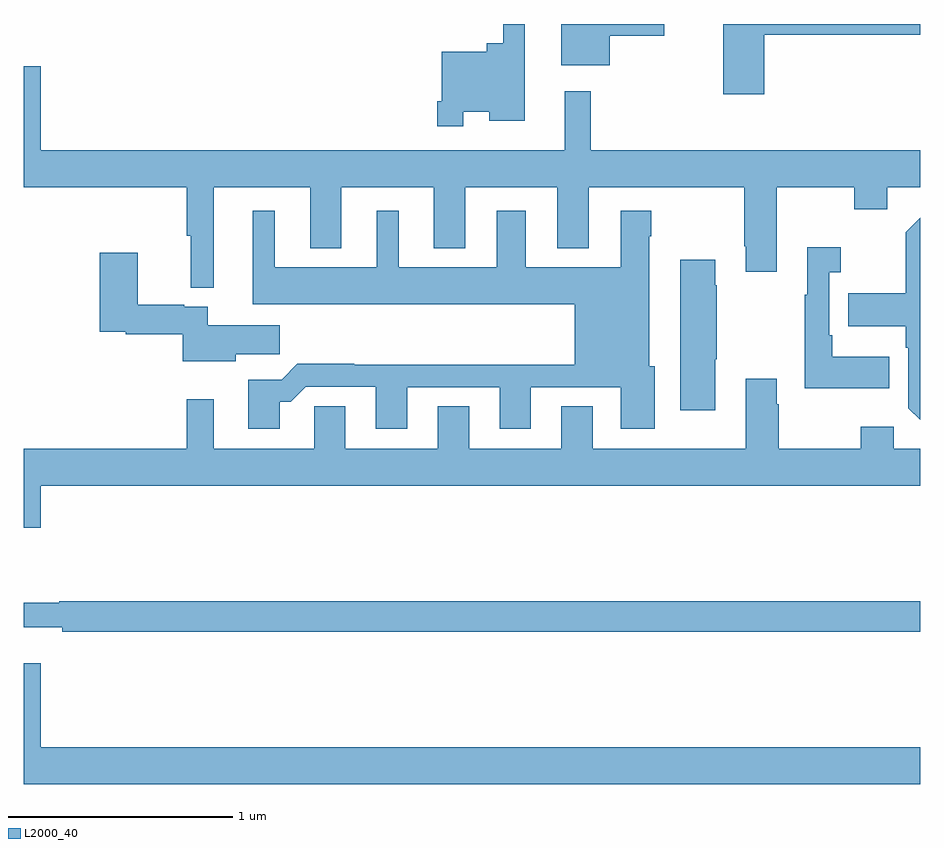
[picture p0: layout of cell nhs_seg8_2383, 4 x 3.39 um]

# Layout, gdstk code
import gdstk
lib = gdstk.Library(unit=1e-6, precision=1e-09)
def P(c, l, *ps):  # polygons
    for p in ps: c.add(gdstk.Polygon(p, *l))
L2000_40 = (2000, 40)

nhs_seg8_2383 = lib.new_cell('nhs_seg8_2383')
P(nhs_seg8_2383, L2000_40, [(262.962,1111.508),(263.078,1111.508),(263.078,1111.469),(263.236,1111.469),(263.236,1111.9),(263.139,1111.9),(263.139,1111.813),(263.066,1111.813),(263.066,1111.777),(262.866,1111.777),(262.866,1111.555),(262.846,1111.555),(262.846,1111.443),(262.962,1111.443)],
  [(264.305,1111.852),(265,1111.852),(265,1111.9),(264.122,1111.9),(264.122,1111.587),(264.305,1111.587)],
  [(263.614,1111.847),(263.857,1111.847),(263.857,1111.9),(263.399,1111.9),(263.399,1111.715),(263.614,1111.715)],
  [(261.847,1111.172),(262.277,1111.172),(262.277,1110.899),(262.417,1110.899),(262.417,1111.172),(262.829,1111.172),(262.829,1110.899),(262.969,1110.899),(262.969,1111.172),(263.381,1111.172),(263.381,1110.899),(263.521,1110.899),(263.521,1111.172),(264.214,1111.172),(264.214,1110.907),(264.221,1110.907),(264.221,1110.795),(264.361,1110.795),(264.361,1111.172),(264.706,1111.172),(264.706,1111.073),(264.853,1111.073),(264.853,1111.172),(265,1111.172),(265,1111.336),(263.531,1111.336),(263.531,1111.6),(263.414,1111.6),(263.414,1111.336),(261.076,1111.336),(261.076,1111.711),(261,1111.711),(261,1111.172),(261.726,1111.172),(261.726,1110.956),(261.744,1110.956),(261.744,1110.723),(261.847,1110.723)],
  [(262.141,1110.215),(262.19,1110.215),(262.257,1110.282),(262.571,1110.282),(262.571,1110.093),(262.711,1110.093),(262.711,1110.279),(263.123,1110.279),(263.123,1110.093),(263.263,1110.093),(263.263,1110.279),(263.663,1110.279),(263.663,1110.093),(263.815,1110.093),(263.815,1110.372),(263.791,1110.372),(263.791,1110.953),(263.799,1110.953),(263.799,1111.066),(263.663,1111.066),(263.663,1110.814),(263.239,1110.814),(263.239,1111.066),(263.111,1111.066),(263.111,1110.814),(262.672,1110.814),(262.672,1111.066),(262.574,1111.066),(262.574,1110.814),(262.12,1110.814),(262.12,1111.066),(262.022,1111.066),(262.022,1110.65),(263.459,1110.65),(263.459,1110.38),(262.475,1110.38),(262.475,1110.383),(262.22,1110.383),(262.15,1110.313),(262.001,1110.313),(262.001,1110.093),(262.141,1110.093)],
  [(265,1111.036),(264.969,1111.005),(264.936,1110.971),(264.936,1110.699),(264.679,1110.699),(264.679,1110.551),(264.936,1110.551),(264.936,1110.455),(264.948,1110.455),(264.948,1110.186),(265,1110.134)],
  [(264.863,1110.415),(264.607,1110.415),(264.607,1110.511),(264.594,1110.511),(264.594,1110.791),(264.646,1110.791),(264.646,1110.904),(264.497,1110.904),(264.497,1110.691),(264.486,1110.691),(264.486,1110.275),(264.863,1110.275)],
  [(261.946,1110.427),(262.141,1110.427),(262.141,1110.556),(261.82,1110.556),(261.82,1110.637),(261.716,1110.637),(261.716,1110.646),(261.508,1110.646),(261.508,1110.88),(261.338,1110.88),(261.338,1110.527),(261.454,1110.527),(261.454,1110.515),(261.71,1110.515),(261.71,1110.395),(261.946,1110.395)],
  [(264.085,1110.403),(264.093,1110.403),(264.093,1110.734),(264.085,1110.734),(264.085,1110.847),(263.93,1110.847),(263.93,1110.176),(264.085,1110.176)],
  [(265,1110.004),(264.882,1110.004),(264.882,1110.103),(264.736,1110.103),(264.736,1110.004),(264.369,1110.004),(264.369,1110.203),(264.361,1110.203),(264.361,1110.316),(264.221,1110.316),(264.221,1110.004),(263.539,1110.004),(263.539,1110.194),(263.399,1110.194),(263.399,1110.004),(262.987,1110.004),(262.987,1110.194),(262.847,1110.194),(262.847,1110.004),(262.435,1110.004),(262.435,1110.194),(262.296,1110.194),(262.296,1110.004),(261.847,1110.004),(261.847,1110.226),(261.726,1110.226),(261.726,1110.004),(261,1110.004),(261,1109.652),(261.076,1109.652),(261.076,1109.84),(265,1109.84)],
  [(265,1109.324),(261.158,1109.324),(261.158,1109.317),(261,1109.317),(261,1109.207),(261.172,1109.207),(261.172,1109.188),(265,1109.188)],
  [(265,1108.672),(261.076,1108.672),(261.076,1109.047),(261,1109.047),(261,1108.508),(265,1108.508)])

lib.write_gds('nhs_seg8_2383.gds')
